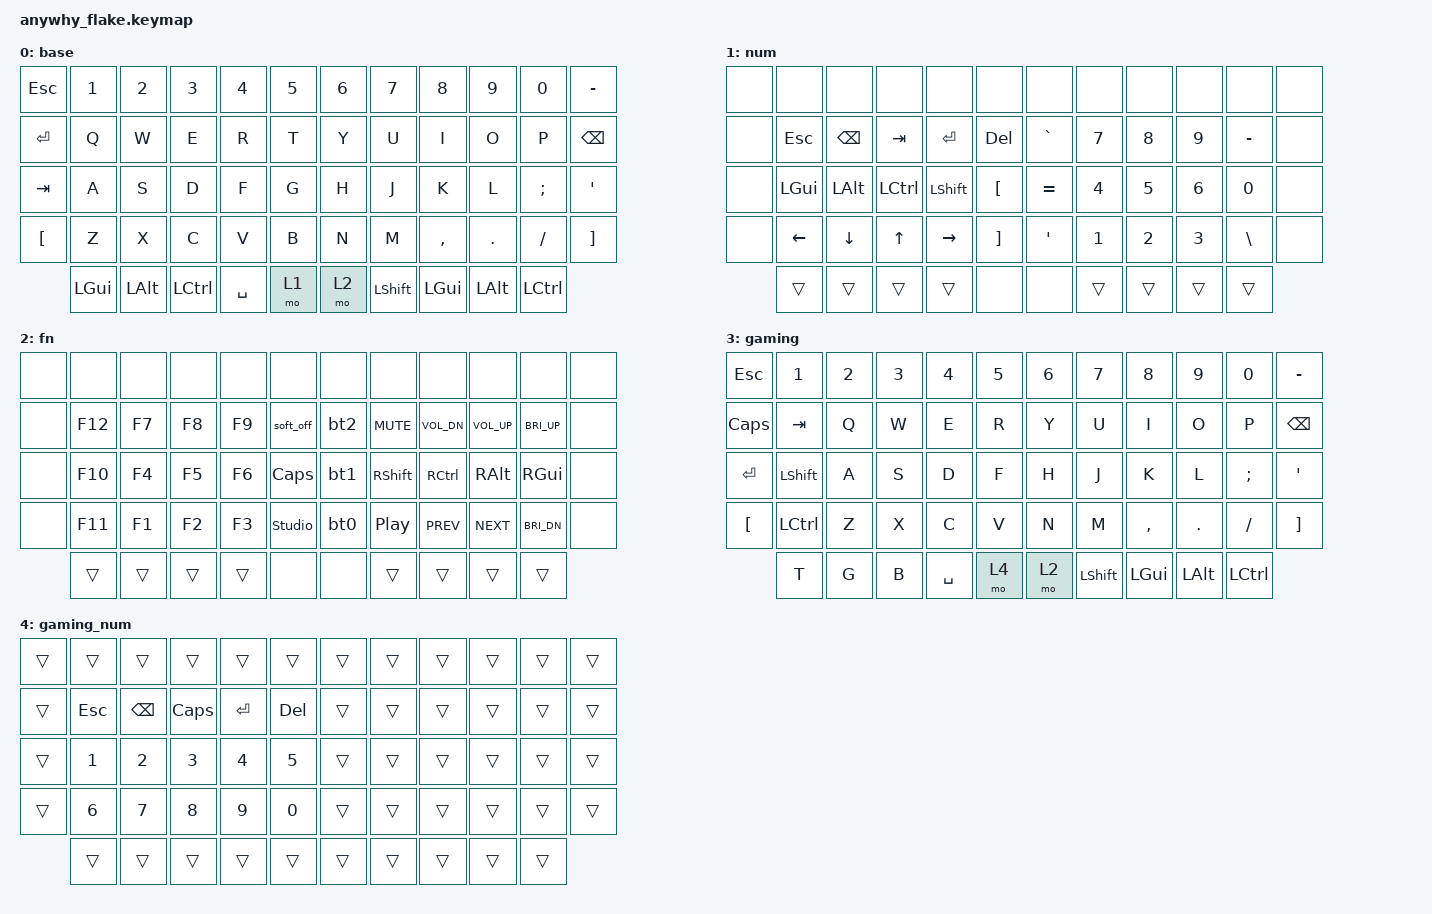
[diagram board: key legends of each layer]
#include <behaviors.dtsi>
#include <dt-bindings/zmk/bt.h>
#include <dt-bindings/zmk/keys.h>

/ {
    combos {
        compatible = "zmk,combos";

        turn_off {
            bindings = <&soft_off>;
            key-positions = <41 17>;
            layers = <1>;
        };

        bt_sel_3 {
            bindings = <&bt3>;
            key-positions = <42 30>;
            layers = <2>;
        };

        bt_sel_4 {
            bindings = <&bt4>;
            key-positions = <30 18>;
            layers = <2>;
        };

        enter_gaming {
            bindings = <&sl 3>;
            key-positions = <26 15 28>;
            layers = <2>;
        };

        leave_gaming {
            bindings = <&sl 0>;
            key-positions = <31 20 33>;
            layers = <4>;
        };

        grave {
            bindings = <&kp GRAVE>;
            key-positions = <13 25>;
            layers = <3>;
        };
    };

    macros {
        bt_clr_0: bt_clr_0 {
            compatible = "zmk,behavior-macro";
            #binding-cells = <0>;
            bindings = <&bt BT_SEL 0 &bt BT_CLR>;
            label = "BT_CLR_0";
        };

        bt_clr_1: bt_clr_1 {
            compatible = "zmk,behavior-macro";
            #binding-cells = <0>;
            bindings = <&bt BT_SEL 1 &bt BT_CLR>;
            label = "BT_CLR_1";
        };

        bt_clr_2: bt_clr_2 {
            compatible = "zmk,behavior-macro";
            #binding-cells = <0>;
            bindings = <&bt BT_SEL 2 &bt BT_CLR>;
            label = "BT_CLR_2";
        };

        bt_clr_3: bt_clr_3 {
            compatible = "zmk,behavior-macro";
            #binding-cells = <0>;
            bindings = <&bt BT_SEL 3 &bt BT_CLR>;
            label = "BT_CLR_3";
        };

        bt_clr_4: bt_clr_4 {
            compatible = "zmk,behavior-macro";
            #binding-cells = <0>;
            bindings = <&bt BT_SEL 4 &bt BT_CLR>;
            label = "BT_CLR_4";
        };
    };

    behaviors {
        bt0: bt0 {
            compatible = "zmk,behavior-mod-morph";
            label = "BT0";
            bindings = <&bt BT_SEL 0>, <&bt_clr_0>;

            #binding-cells = <0>;
            mods = <(MOD_LSFT|MOD_RSFT)>;
        };

        bt1: bt1 {
            compatible = "zmk,behavior-mod-morph";
            label = "BT1";
            bindings = <&bt BT_SEL 1>, <&bt_clr_1>;

            #binding-cells = <0>;
            mods = <(MOD_LSFT|MOD_RSFT)>;
        };

        bt2: bt2 {
            compatible = "zmk,behavior-mod-morph";
            label = "BT2";
            bindings = <&bt BT_SEL 2>, <&bt_clr_2>;

            #binding-cells = <0>;
            mods = <(MOD_LSFT|MOD_RSFT)>;
        };

        bt3: bt3 {
            compatible = "zmk,behavior-mod-morph";
            label = "BT3";
            bindings = <&bt BT_SEL 3>, <&bt_clr_3>;

            #binding-cells = <0>;
            mods = <(MOD_LSFT|MOD_RSFT)>;
        };

        bt4: bt4 {
            compatible = "zmk,behavior-mod-morph";
            label = "BT4";
            bindings = <&bt BT_SEL 4>, <&bt_clr_4>;

            #binding-cells = <0>;
            mods = <(MOD_LSFT|MOD_RSFT)>;
        };

        HT_L_KP_2: HT_L_KP_2 {
            compatible = "zmk,behavior-hold-tap";
            label = "HT_L_KP_2";
            bindings = <&mo>, <&kp>;

            #binding-cells = <2>;
            tapping-term-ms = <200>;
            quick-tap-ms = <0>;
            flavor = "tap-preferred";
        };
    };

    keymap {
        compatible = "zmk,keymap";

        base {
            bindings = <
&kp ESC    &kp N1    &kp N2    &kp N3     &kp N4     &kp N5    &kp N6  &kp N7     &kp N8     &kp N9    &kp N0     &kp MINUS
&kp ENTER  &kp Q     &kp W     &kp E      &kp R      &kp T     &kp Y   &kp U      &kp I      &kp O     &kp P      &kp BSPC
&kp TAB    &kp A     &kp S     &kp D      &kp F      &kp G     &kp H   &kp J      &kp K      &kp L     &kp SEMI   &kp APOS
&kp LBKT   &kp Z     &kp X     &kp C      &kp V      &kp B     &kp N   &kp M      &kp COMMA  &kp DOT   &kp FSLH   &kp RBKT
           &kp LGUI  &kp LALT  &kp LCTRL  &kp SPACE  &mo 1     &mo 2   &kp LSHFT  &kp LGUI   &kp LALT  &kp LCTRL
            >;
        };

        num {
            bindings = <
&none  &none     &none          &none      &none      &none       &none      &none   &none   &none   &none      &none
&none  &kp ESC   &kp BACKSPACE  &kp TAB    &kp ENTER  &kp DEL     &kp GRAVE  &kp N7  &kp N8  &kp N9  &kp MINUS  &none
&none  &kp LGUI  &kp LALT       &kp LCTRL  &kp LSHFT  &kp LBKT    &kp EQUAL  &kp N4  &kp N5  &kp N6  &kp N0     &none
&none  &kp LEFT  &kp DOWN       &kp UP     &kp RIGHT  &kp RBKT    &kp SQT    &kp N1  &kp N2  &kp N3  &kp BSLH   &none
       &trans    &trans         &trans     &trans     &none       &none      &trans  &trans  &trans  &trans
            >;
        };

        fn {
            bindings = <
&none  &none    &none   &none   &none   &none             &none  &none       &none         &none         &none         &none
&none  &kp F12  &kp F7  &kp F8  &kp F9  &soft_off         &bt2   &kp C_MUTE  &kp C_VOL_DN  &kp C_VOL_UP  &kp C_BRI_UP  &none
&none  &kp F10  &kp F4  &kp F5  &kp F6  &kp CAPS          &bt1   &kp RSHFT   &kp RCTRL     &kp RALT      &kp RGUI      &none
&none  &kp F11  &kp F1  &kp F2  &kp F3  &studio_unlock    &bt0   &kp C_PP    &kp C_PREV    &kp C_NEXT    &kp C_BRI_DN  &none
       &trans   &trans  &trans  &trans  &none             &none  &trans      &trans        &trans        &trans
            >;
        };

        gaming {
            bindings = <
&kp ESC    &kp N1     &kp N2  &kp N3  &kp N4     &kp N5    &kp N6  &kp N7     &kp N8     &kp N9    &kp N0     &kp MINUS
&kp CAPS   &kp TAB    &kp Q   &kp W   &kp E      &kp R     &kp Y   &kp U      &kp I      &kp O     &kp P      &kp BSPC
&kp ENTER  &kp LSHFT  &kp A   &kp S   &kp D      &kp F     &kp H   &kp J      &kp K      &kp L     &kp SEMI   &kp APOS
&kp LBKT   &kp LCTRL  &kp Z   &kp X   &kp C      &kp V     &kp N   &kp M      &kp COMMA  &kp DOT   &kp FSLH   &kp RBKT
           &kp T      &kp G   &kp B   &kp SPACE  &mo 4     &mo 2   &kp LSHFT  &kp LGUI   &kp LALT  &kp LCTRL
            >;
        };

        gaming_num {
            bindings = <
&trans  &trans   &trans    &trans    &trans     &trans     &trans  &trans  &trans  &trans  &trans  &trans
&trans  &kp ESC  &kp BSPC  &kp CAPS  &kp ENTER  &kp DEL    &trans  &trans  &trans  &trans  &trans  &trans
&trans  &kp N1   &kp N2    &kp N3    &kp N4     &kp N5     &trans  &trans  &trans  &trans  &trans  &trans
&trans  &kp N6   &kp N7    &kp N8    &kp N9     &kp N0     &trans  &trans  &trans  &trans  &trans  &trans
        &trans   &trans    &trans    &trans     &trans     &trans  &trans  &trans  &trans  &trans
            >;
        };
    };
};
